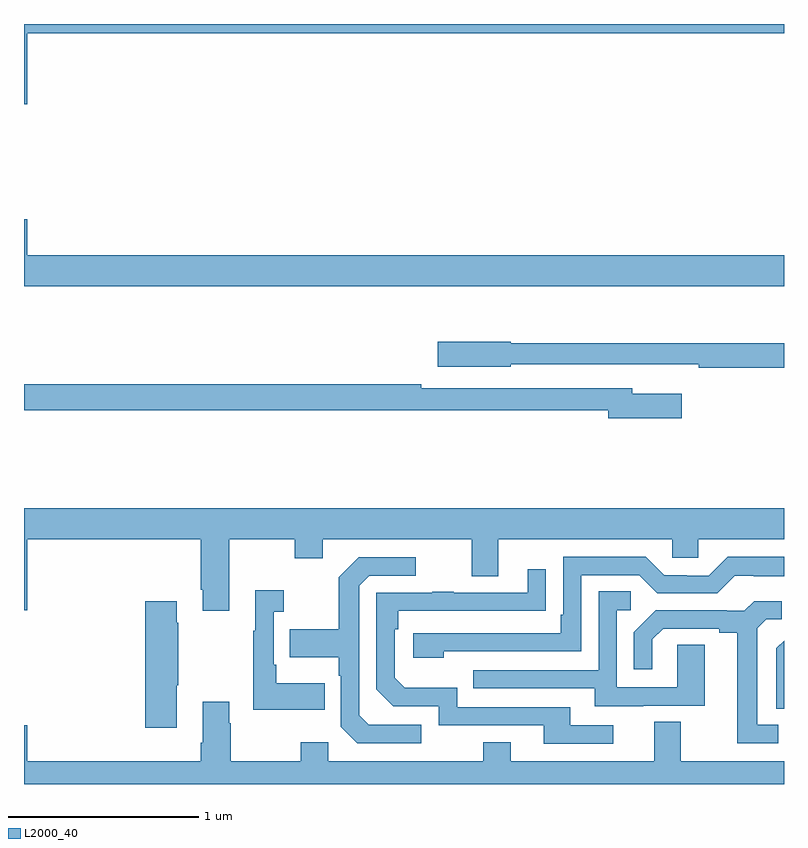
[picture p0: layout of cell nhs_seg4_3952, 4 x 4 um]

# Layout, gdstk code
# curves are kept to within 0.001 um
import gdstk
lib = gdstk.Library(unit=1e-6, precision=1e-09)
def P(c, l, *ps):  # polygons
    for p in ps: c.add(gdstk.Polygon(p, *l))
L2000_40 = (2000, 40)

nhs_seg4_3952 = lib.new_cell('nhs_seg4_3952')
P(nhs_seg4_3952, L2000_40, [(321.016,764.852),(325,764.852),(325,764.9),(321,764.9),(321,764.478),(321.016,764.478)],
  [(325,763.684),(321.016,763.684),(321.016,763.873),(321,763.873),(321,763.52),(325,763.52)],
  [(325,763.219),(323.562,763.219),(323.562,763.227),(323.178,763.227),(323.178,763.097),(323.562,763.097),(323.562,763.11),(324.298,763.11),(324.298,763.109),(324.55,763.109),(324.55,763.09),(325,763.09)],
  [(324.463,762.955),(324.202,762.955),(324.202,762.984),(323.09,762.984),(323.09,763.004),(321,763.004),(321,762.868),(324.074,762.868),(324.074,762.826),(324.463,762.826)],
  [(322.081,762.188),(322.426,762.188),(322.426,762.089),(322.573,762.089),(322.573,762.188),(323.357,762.188),(323.357,761.994),(323.497,761.994),(323.497,762.188),(324.411,762.188),(324.411,762.09),(324.549,762.09),(324.549,762.188),(325,762.188),(325,762.352),(321,762.352),(321,761.814),(321.016,761.814),(321.016,762.188),(321.929,762.188),(321.929,761.923),(321.941,761.923),(321.941,761.811),(322.081,761.811)],
  [(323.21,761.598),(323.934,761.598),(323.934,762),(324.237,762),(324.333,761.904),(324.648,761.904),(324.741,761.997),(324.841,761.997),(324.841,761.993),(325,761.993),(325,762.097),(324.703,762.097),(324.603,761.997),(324.488,761.997),(324.488,762),(324.369,762),(324.273,762.096),(323.838,762.096),(323.838,761.791),(323.825,761.791),(323.825,761.694),(323.049,761.694),(323.049,761.564),(323.21,761.564)],
  [(323.092,761.211),(322.815,761.211),(322.764,761.262),(322.764,761.943),(322.818,761.997),(323.062,761.997),(323.062,762.093),(322.761,762.093),(322.656,761.987),(322.656,761.715),(322.399,761.715),(322.399,761.567),(322.656,761.567),(322.656,761.471),(322.668,761.471),(322.668,761.202),(322.755,761.115),(323.092,761.115)],
  [(324.1,761.208),(323.875,761.208),(323.875,761.304),(323.28,761.304),(323.28,761.407),(323.003,761.407),(322.95,761.46),(322.95,761.714),(322.97,761.714),(322.97,761.811),(323.747,761.812),(323.747,762.031),(323.651,762.031),(323.651,761.907),(323.261,761.907),(323.261,761.912),(323.149,761.912),(323.149,761.907),(322.854,761.907),(322.854,761.4),(322.944,761.31),(323.184,761.31),(323.184,761.208),(323.735,761.208),(323.735,761.112),(324.1,761.112)],
  [(322.583,761.431),(322.327,761.431),(322.327,761.527),(322.314,761.527),(322.314,761.807),(322.366,761.807),(322.366,761.92),(322.217,761.92),(322.217,761.707),(322.206,761.707),(322.206,761.291),(322.583,761.291)],
  [(324.259,761.313),(324.583,761.313),(324.583,761.633),(324.438,761.633),(324.438,761.409),(324.12,761.409),(324.12,761.814),(324.193,761.814),(324.193,761.915),(324.024,761.915),(324.024,761.499),(323.365,761.499),(323.365,761.403),(324.005,761.403),(324.005,761.309),(324.259,761.309)],
  [(321.805,761.419),(321.813,761.419),(321.813,761.75),(321.805,761.75),(321.805,761.863),(321.638,761.863),(321.638,761.196),(321.805,761.196)],
  [(324.97,761.211),(324.859,761.211),(324.859,761.719),(324.906,761.766),(324.988,761.766),(324.988,761.863),(324.844,761.863),(324.792,761.811),(324.698,761.811),(324.698,761.814),(324.326,761.814),(324.21,761.698),(324.21,761.505),(324.307,761.505),(324.307,761.661),(324.364,761.718),(324.659,761.718),(324.659,761.696),(324.755,761.696),(324.755,761.115),(324.97,761.115)],
  [(325,761.654),(324.96,761.614),(324.96,761.296),(325,761.296)],
  [(325,761.02),(324.457,761.02),(324.457,761.228),(324.317,761.228),(324.317,761.02),(323.563,761.02),(323.563,761.119),(323.416,761.119),(323.416,761.02),(322.602,761.02),(322.602,761.119),(322.456,761.119),(322.456,761.02),(322.089,761.02),(322.089,761.219),(322.081,761.219),(322.081,761.332),(321.941,761.332),(321.941,761.116),(321.929,761.116),(321.929,761.02),(321.016,761.02),(321.016,761.209),(321,761.209),(321,760.9),(325,760.9)])

lib.write_gds('nhs_seg4_3952.gds')
